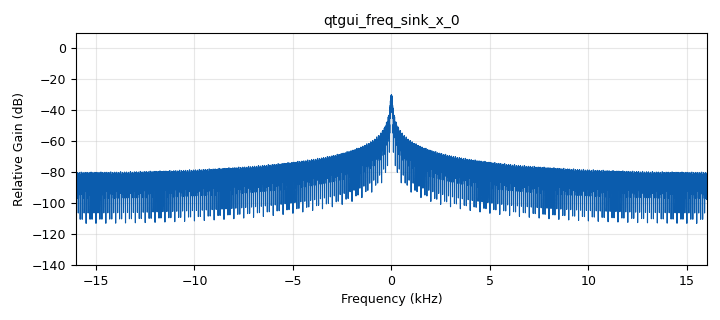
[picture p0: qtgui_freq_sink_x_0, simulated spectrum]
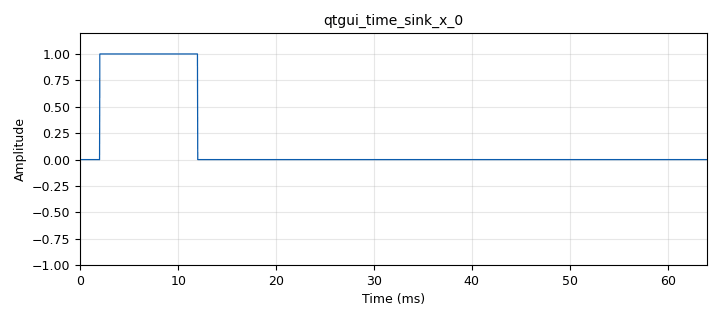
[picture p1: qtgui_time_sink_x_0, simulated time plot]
options:
  parameters:
    author: rcampello
    generate_options: qt_gui
    id: example004
    output_language: python
    title: example004
  states: {}

blocks:
- name: samp_rate
  id: variable
  parameters:
    value: '32000'
  states: {}
- name: tag1
  id: variable_tag_object
  parameters:
    key: pmt.intern("t0")
    offset: '0'
    src: pmt.intern("VecSrc")
    value: pmt.intern("0")
  states: {}
- name: tau
  id: variable_qtgui_range
  parameters:
    orient: Qt.Horizontal
    start: '0'
    step: '0.001'
    stop: '0.03'
    value: '0.01'
  states: {}
- name: blocks_throttle_0
  id: blocks_throttle
  parameters:
    samples_per_second: samp_rate
    type: float
  states: {}
- name: blocks_vector_source_x_0
  id: blocks_vector_source_x
  parameters:
    repeat: 'True'
    tags: '[tag1]'
    type: float
    vector: np.hstack((np.ones(int(tau*samp_rate)), np.zeros(int((0.1-tau)*samp_rate))))
  states: {}
- name: import_0
  id: import
  parameters:
    imports: import numpy as np
  states: {}
- name: qtgui_freq_sink_x_0
  id: qtgui_freq_sink_x
  parameters:
    bw: samp_rate
    fc: '0'
    fftsize: 1024 * 8
    grid: 'True'
    gui_hint: 2, 1, 1, 1
    type: float
    wintype: firdes.WIN_BLACKMAN_hARRIS
  states: {}
- name: qtgui_time_sink_x_0
  id: qtgui_time_sink_x
  parameters:
    grid: 'True'
    gui_hint: 2, 0, 1, 1
    size: 1024 * 2
    srate: samp_rate
    tr_delay: '0.002'
    tr_mode: qtgui.TRIG_MODE_TAG
    tr_tag: '"t0"'
    type: float
    ymax: '1.2'
  states: {}

connections:
- [blocks_throttle_0, '0', qtgui_freq_sink_x_0, '0']
- [blocks_throttle_0, '0', qtgui_time_sink_x_0, '0']
- [blocks_vector_source_x_0, '0', blocks_throttle_0, '0']

metadata:
  file_format: 1
